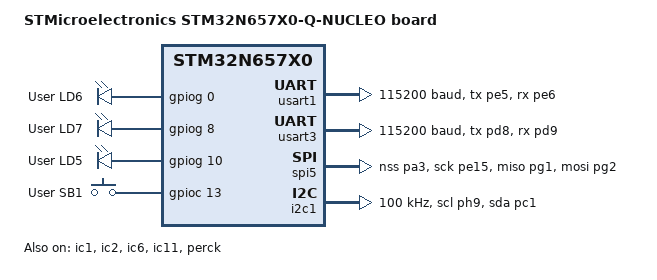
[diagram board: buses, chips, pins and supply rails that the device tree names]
/*
 * Copyright (c) 2024 STMicroelectronics
 *
 * SPDX-License-Identifier: Apache-2.0
 */

/dts-v1/;
#include <st/n6/stm32n657X0.dtsi>
#include <st/n6/stm32n657x0hxq-pinctrl.dtsi>
#include "arduino_r3_connector.dtsi"
#include "st_morpho_connector.dtsi"
#include <zephyr/dt-bindings/input/input-event-codes.h>

/ {
	model = "STMicroelectronics STM32N657X0-Q-NUCLEO board";
	compatible = "st,stm32n657x0-q-nucleo";

	chosen {
		zephyr,console = &usart1;
		zephyr,shell-uart = &usart1;
		zephyr,sram = &axisram1;
	};

	leds: leds {
		compatible = "gpio-leds";
		green_led: led_1 {
			gpios = <&gpiog 0 GPIO_ACTIVE_HIGH>;
			label = "User LD6";
		};
		blue_led: led_2 {
			gpios = <&gpiog 8 GPIO_ACTIVE_HIGH>;
			label = "User LD7";
		};
		red_led: led_3 {
			gpios = <&gpiog 10 GPIO_ACTIVE_HIGH>;
			label = "User LD5";
		};
	};

	gpio_keys {
		compatible = "gpio-keys";
		user_button: button_0 {
			gpios = <&gpioc 13 GPIO_ACTIVE_HIGH>;
			label = "User SB1";
			zephyr,code = <INPUT_KEY_0>;
		};
	};

	aliases {
		led0 = &green_led;
		sw0 = &user_button;
	};
};

&clk_hsi {
	hsi-div = <1>;
	status = "okay";
};

&pll1 {
	clocks = <&clk_hsi>;
	div-m = <4>;
	mul-n = <75>;
	div-p1 = <1>;
	div-p2 = <1>;
	status = "okay";
};

&ic1 {
	pll-src = <1>;
	ic-div = <2>;
	status = "okay";
};

&ic2 {
	pll-src = <1>;
	ic-div = <3>;
	status = "okay";
};

&ic6 {
	pll-src = <1>;
	ic-div = <2>;
	status = "okay";
};

&ic11 {
	pll-src = <1>;
	ic-div = <3>;
	status = "okay";
};

&perck {
	clocks = <&rcc STM32_SRC_HSI PER_SEL(0)>;
	status = "okay";
};

&cpusw {
	clocks = <&rcc STM32_SRC_IC1 CPU_SEL(3)>;
	status = "okay";
};

&rcc {
	/* ic2, ic6 & ic11 must all be enabled to set ic2 as SYSCLK */
	clocks = <&ic2>;
	clock-frequency = <DT_FREQ_M(400)>;
	ahb-prescaler = <2>;
	apb1-prescaler = <1>;
	apb2-prescaler = <1>;
	apb4-prescaler = <1>;
	apb5-prescaler = <1>;
};

&usart1 {
	pinctrl-0 = <&usart1_tx_pe5 &usart1_rx_pe6>;
	pinctrl-names = "default";
	current-speed = <115200>;
	status = "okay";
};

&usart3 {
	pinctrl-0 = <&usart3_tx_pd8 &usart3_rx_pd9>;
	pinctrl-names = "default";
	current-speed = <115200>;
	status = "okay";
};

&spi5 {
	clocks = <&rcc STM32_CLOCK_BUS_APB2 0x00100000>,
		 <&rcc STM32_SRC_CKPER SPI5_SEL(1)>;
	pinctrl-0 = <&spi5_nss_pa3 &spi5_sck_pe15 &spi5_miso_pg1 &spi5_mosi_pg2>;
	pinctrl-names = "default";
	status = "okay";
};

&i2c1 {
	clocks = <&rcc STM32_CLOCK_BUS_APB1 0x00200000>,
		 <&rcc STM32_SRC_CKPER I2C1_SEL(1)>;
	pinctrl-0 = <&i2c1_scl_ph9 &i2c1_sda_pc1>;
	pinctrl-names = "default";
	clock-frequency = <I2C_BITRATE_STANDARD>;
	status = "okay";
};
